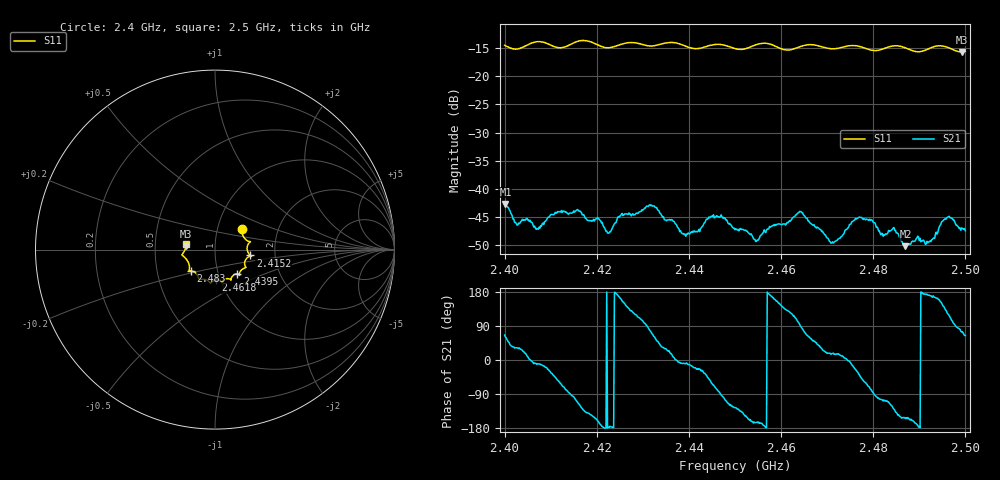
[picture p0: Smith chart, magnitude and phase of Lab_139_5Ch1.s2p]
# Hz S RI R 50
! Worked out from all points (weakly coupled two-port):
!   601 points, 2.4 GHz to 2.5 GHz, reference 50 ohm
!   highest |S21| = -42.65 dB at 2.4002 GHz (marker M1); lowest = -50.2 dB at 2.487 GHz (marker M2)
!   lowest |S11| = -15.7 dB at 2.4992 GHz (marker M3), VSWR 1.39, Z = 36 + j1.36 ohm
!   |S11| at or under -10 dB: start of sweep to end of sweep
!   S12 and S22 are empty: the file has one direction only
!   S11 on the Smith chart (normalised r, x): 2.4 GHz: 1.31, +0.31; 2.4152 GHz: 1.48, -0.10; 2.4395 GHz: 1.23, -0.34; 2.4618 GHz: 0.95, -0.33; 2.483 GHz: 0.74, -0.18; 2.5 GHz: 0.72, +0.05
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2.4e9  0.1502 0.1134  0.00297 0.00665  0 0  0 0
2.400167e9  0.1499 0.111  0.00357 0.00645  0 0  0 0
2.407167e9  0.198 0.0442  0.00434 -0.000764  0 0  0 0
2.415167e9  0.1965 -0.0327  -0.00111 -0.00612  0 0  0 0
2.416667e9  0.2039 -0.0377  -0.00362 -0.00505  0 0  0 0
2.4225e9  0.1669 -0.0644  -0.00405 -0.000166  0 0  0 0
2.433333e9  0.1369 -0.1319  0.00432 0.0048  0 0  0 0
2.4395e9  0.1239 -0.1351  0.00395 -0.000537  0 0  0 0
2.444833e9  0.0888 -0.1667  0.00286 -0.00495  0 0  0 0
2.45e9  0.0695 -0.1619  -0.00253 -0.00353  0 0  0 0
2.454667e9  0.0396 -0.1867  -0.00332 -0.000916  0 0  0 0
2.461833e9  0.00403 -0.171  -0.00313 0.00418  0 0  0 0
2.466667e9  -0.0262 -0.1888  0.00287 0.0039  0 0  0 0
2.471e9  -0.0494 -0.1681  0.00319 0.000944  0 0  0 0
2.477e9  -0.09 -0.1606  0.00437 -0.00354  0 0  0 0
2.483e9  -0.1355 -0.1182  -0.00123 -0.00378  0 0  0 0
2.483333e9  -0.1383 -0.118  -0.0015 -0.00402  0 0  0 0
2.487e9  -0.1428 -0.107  -0.00281 -0.00133  0 0  0 0
2.492333e9  -0.173 -0.0398  -0.0034 0.000636  0 0  0 0
2.496167e9  -0.179 -0.0212  -0.00299 0.00476  0 0  0 0
2.499167e9  -0.1631 0.0183  0.00126 0.00433  0 0  0 0
2.5e9  -0.163 0.0331  0.00184 0.00383  0 0  0 0
